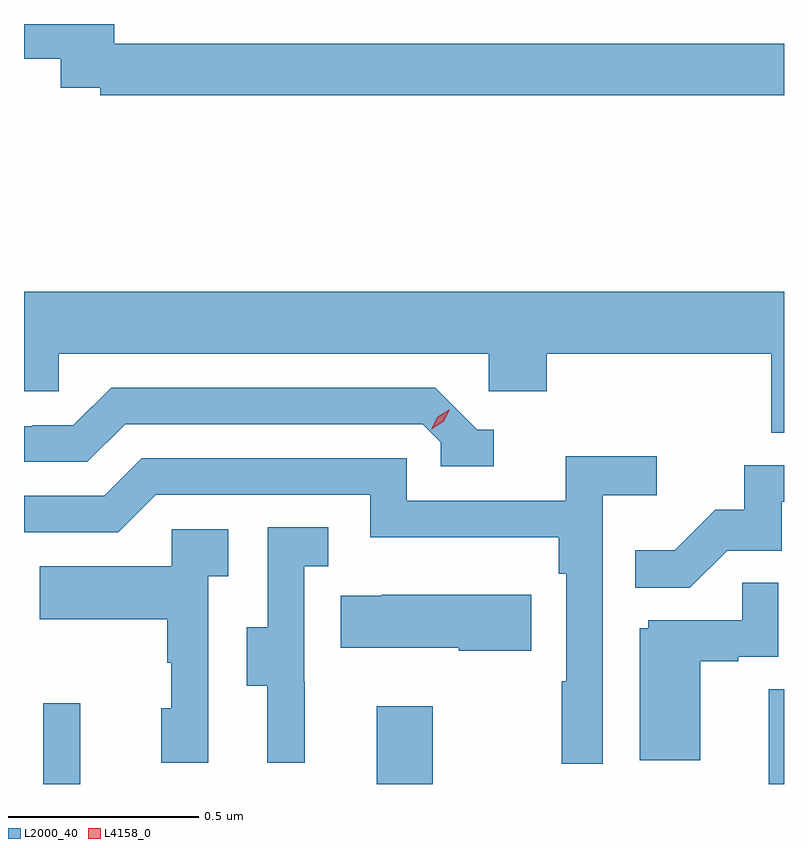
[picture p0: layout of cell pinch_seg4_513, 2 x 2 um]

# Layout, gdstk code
import gdstk
lib = gdstk.Library(unit=1e-6, precision=1e-09)
def R(c, l, rs):  # rectangles x0, y0, x1, y1
    for r in rs: c.add(gdstk.rectangle(r[:2], r[2:], *l))
def P(c, l, *ps):  # polygons
    for p in ps: c.add(gdstk.Polygon(p, *l))
L2000_40 = (2000, 40)
L4158_0 = (4158, 0)

pinch_seg4_513 = lib.new_cell('pinch_seg4_513')
R(pinch_seg4_513, L2000_40, [(1000.269,761.056,1000.367,761.269), (1001.147,761.056,1001.295,761.26), (1002.179,761.056,1002.219,761.306)])
P(pinch_seg4_513, L2000_40, [(1002.219,763.004),(1000.457,763.004),(1000.457,763.056),(1000.219,763.056),(1000.219,762.965),(1000.316,762.965),(1000.316,762.888),(1000.42,762.888),(1000.42,762.868),(1002.219,762.868)],
  [(1002.219,762.352),(1000.219,762.352),(1000.219,762.09),(1000.311,762.09),(1000.311,762.188),(1001.442,762.188),(1001.442,762.09),(1001.594,762.09),(1001.594,762.188),(1002.185,762.188),(1002.185,761.98),(1002.219,761.98)],
  [(1001.455,761.988),(1001.412,761.988),(1001.301,762.099),(1000.448,762.099),(1000.349,762),(1000.242,762),(1000.242,761.997),(1000.219,761.997),(1000.219,761.904),(1000.386,761.904),(1000.485,762.003),(1001.268,762.003),(1001.316,761.955),(1001.316,761.892),(1001.455,761.892)],
  [(1001.742,761.816),(1001.884,761.816),(1001.884,761.918),(1001.645,761.918),(1001.645,761.802),(1001.226,761.802),(1001.226,761.913),(1000.529,761.913),(1000.43,761.814),(1000.219,761.814),(1000.219,761.718),(1000.467,761.718),(1000.566,761.817),(1001.13,761.817),(1001.13,761.705),(1001.626,761.705),(1001.626,761.609),(1001.646,761.609),(1001.646,761.327),(1001.634,761.327),(1001.634,761.109),(1001.742,761.109)],
  [(1002.069,761.67),(1002.213,761.67),(1002.213,761.799),(1002.219,761.799),(1002.219,761.895),(1002.115,761.895),(1002.115,761.778),(1002.038,761.778),(1001.931,761.671),(1001.827,761.671),(1001.827,761.572),(1001.971,761.572)],
  [(1000.958,761.325),(1000.956,761.325),(1000.956,761.629),(1001.02,761.629),(1001.02,761.732),(1000.86,761.732),(1000.86,761.469),(1000.805,761.469),(1000.805,761.314),(1000.859,761.314),(1000.859,761.112),(1000.958,761.112)],
  [(1000.704,761.603),(1000.756,761.603),(1000.756,761.727),(1000.608,761.727),(1000.608,761.629),(1000.261,761.629),(1000.261,761.489),(1000.596,761.489),(1000.596,761.375),(1000.606,761.375),(1000.606,761.256),(1000.58,761.256),(1000.58,761.112),(1000.704,761.112)],
  [(1001.998,761.379),(1002.098,761.379),(1002.098,761.391),(1002.204,761.391),(1002.204,761.585),(1002.109,761.585),(1002.109,761.487),(1001.862,761.487),(1001.862,761.466),(1001.84,761.466),(1001.84,761.118),(1001.998,761.118)],
  [(1001.554,761.554),(1001.161,761.554),(1001.161,761.551),(1001.053,761.551),(1001.053,761.414),(1001.363,761.414),(1001.363,761.407),(1001.554,761.407)])
P(pinch_seg4_513, L4158_0, [(1001.291,761.99),(1001.291,761.99),(1001.308,762.022),(1001.338,762.041),(1001.339,762.041),(1001.339,762.041),(1001.322,762.009),(1001.291,761.99)])

lib.write_gds('pinch_seg4_513.gds')
